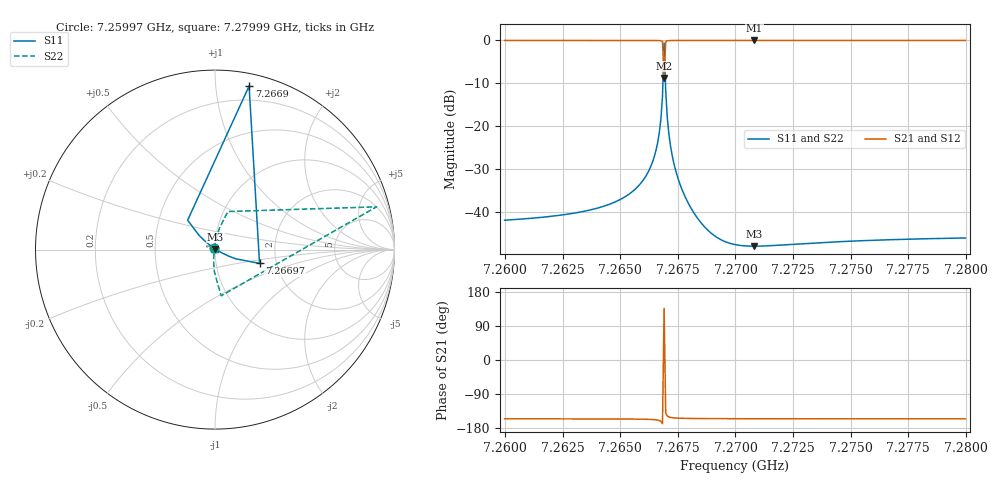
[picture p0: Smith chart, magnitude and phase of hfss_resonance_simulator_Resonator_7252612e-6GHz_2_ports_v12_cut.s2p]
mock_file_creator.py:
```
import skrf as rf
import os


def shift_s2p_freq_axis_minimal(input_fp: str, output_fp: str, freq_shift_ghz: float):
    ntwk = rf.Network(input_fp)
    ntwk.f = ntwk.f / (10 ** 9) + freq_shift_ghz

    output_dir = os.path.dirname(output_fp)
    if output_dir and not os.path.exists(output_dir): os.makedirs(output_dir, exist_ok=True)
    ntwk.write_touchstone(output_fp)


def hz2ghz(input_fp: str, output_fp: str):
    ntwk = rf.Network(input_fp)
    ntwk.f = ntwk.f / (10 ** 9)

    output_dir = os.path.dirname(output_fp)
    if output_dir and not os.path.exists(output_dir): os.makedirs(output_dir, exist_ok=True)
    ntwk.write_touchstone(output_fp)


def cut_spektrum(input_fp: str, output_fp: str, freq_min_ghz: float, freq_max_ghz: float):
    ntwk = rf.Network(input_fp)
    ntwk.f = ntwk.f / (10 ** 9) + 1
    ntwk = ntwk[f'{1 + freq_min_ghz}-{1 + freq_max_ghz}ghz']
    ntwk.f = ntwk.f / (10 ** 9) - 1
    output_dir = os.path.dirname(output_fp)
    if output_dir and not os.path.exists(output_dir):
        os.makedirs(output_dir, exist_ok=True)
    ntwk.write_touchstone(output_fp)


def dipSpreader(input_fp: str, output_fp: str, scale_factor: float):
    ntwk = rf.Network(input_fp)
    ntwk.f = ntwk.f / (10 ** 9) * scale_factor

    output_dir = os.path.dirname(output_fp)
    if output_dir and not os.path.exists(output_dir): os.makedirs(output_dir, exist_ok=True)
    ntwk.write_touchstone(output_fp)


if __name__ == "__main__":
    IN_FILE = "hfss_resonance_simulator_Resonator_7252612e-6GHz_2_ports_v12_cut.s2p"
    OUT_FILE = "hfss_resonance_simulator_Resonator_7252612e-6GHz_2_ports_v12_cut_5000khz.s2p"

    current_path = os.path.abspath("")
    data_dir_path = os.path.join(current_path, "data")
    in_file_path = os.path.join(data_dir_path, IN_FILE)
    out_file_path = os.path.join(data_dir_path, OUT_FILE)

    # SHIFT = -7266900000/1e9
    #
    # shift_s2p_freq_axis_minimal(in_file_path, out_file_path, SHIFT)
    # hz2ghz(in_file_path, out_file_path)
    # cut_spektrum(in_file_path, out_file_path, freq_min_ghz=-0.01, freq_max_ghz=0.01)
    # dipSpreader(in_file_path, out_file_path, scale_factor=25)
    shift_s2p_freq_axis_minimal(in_file_path, out_file_path, 0.005)

    print("DONE")
```
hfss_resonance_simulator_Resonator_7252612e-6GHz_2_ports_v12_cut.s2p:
! Touchstone file exported from HFSS 2024.1.0
!  File:  C:/Users/alex_0000/Desktop/hfss_resonance_simulator (1).aedt
!  Generated:  06:27:55 PM Jun  4, 2025
!  Design:  hfssO1XZ3E2
!  Project:  hfss_resonance_simulator (1)
!  Setup:  Setup1
!  Solution:  Sweep
! Created with skrf (http://scikit-rf.org).
# GHz S RI R 50.0
! Port[1] = 1
! Port[2] = 2
!freq ReS11 ImS11 ReS21 ImS21 ReS12 ImS12 ReS22 ImS22
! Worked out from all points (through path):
!   287 points, 7.25997 GHz to 7.27999 GHz, reference 50 ohm
!   highest |S21| = 0.00 dB at 7.27082 GHz (marker M1); lowest = -8.7 dB at 7.2669 GHz (marker M2)
!   lowest |S11| = -47.9 dB at 7.27082 GHz (marker M3), VSWR 1.01, Z = 50.2 + j0.34 ohm
!   |S11| at or under -10 dB: start of sweep to 7.266847 GHz; 7.266959 GHz to end of sweep
!   |S22| runs from -47.9 to -0.6 dB; largest |S21 - S12| = 2.3e-13
!   S11 on the Smith chart (normalised r, x): 7.25997 GHz: 0.99, +0.01; 7.2669 GHz: 0.09, +1.23; 7.26697 GHz: 1.63, -0.27; 7.27999 GHz: 1.00, +0.01
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7.25997  -0.0036 0.00725  -0.9073 -0.4203  -0.9073 -0.4203  -0.0032 0.00743
7.26578  -0.0141 0.0145  -0.9134 -0.4066  -0.9134 -0.4066  -0.00133 0.0202
7.26648  -0.0341 0.0295  -0.9227 -0.3829  -0.9227 -0.3829  0.00322 0.045
7.26683  -0.1524 0.1637  -0.9527 -0.2057  -0.9527 -0.2057  0.0713 0.212
7.2669  0.19 0.9113  -0.265 0.2513  -0.265 0.2513  0.8999 0.2382
7.26697  0.2481 -0.0768  -0.7381 -0.6227  -0.7381 -0.6227  0.0339 -0.2575
7.26725  0.0416 -0.0198  -0.8843 -0.4647  -0.8843 -0.4647  -0.00729 -0.0454
7.26781  0.0146 -0.00442  -0.8993 -0.4371  -0.8993 -0.4371  -0.00552 -0.0142
7.26998  0.0032 0.00273  -0.9055 -0.4243  -0.9055 -0.4243  -0.00415 -0.000711
7.27082  0.0022 0.00338  -0.9062 -0.4229  -0.9062 -0.4229  -0.004 0.000488
7.27999  -0.000326 0.00502  -0.9089 -0.417  -0.9089 -0.417  -0.00359 0.00352
